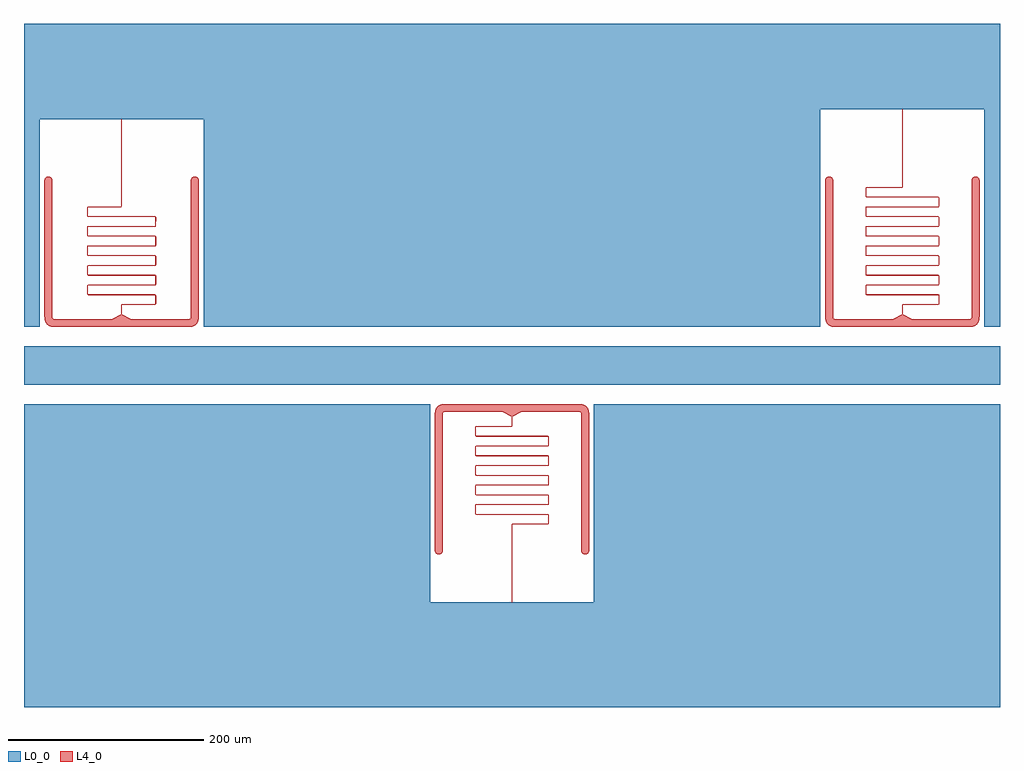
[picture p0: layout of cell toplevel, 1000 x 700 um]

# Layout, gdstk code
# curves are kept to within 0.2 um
import gdstk
lib = gdstk.Library(unit=1e-6, precision=1e-09)
def R(c, l, rs):  # rectangles x0, y0, x1, y1
    for r in rs: c.add(gdstk.rectangle(r[:2], r[2:], *l))
def P(c, l, *ps):  # polygons
    for p in ps: c.add(gdstk.Polygon(p, *l))
L0_0 = (0, 0)
L4_0 = (4, 0)

toplevel = lib.new_cell('toplevel')
R(toplevel, L0_0, [(-500,-19.5,500,19.5)])
P(toplevel, L0_0, [(316,262.5),(484,262.5),(484,39.5),(500,39.5),(500,350),(-500,350),(-500,39.5),(-484,39.5),(-484,252.5),(-316,252.5),(-316,39.5),(316,39.5)],
  [(-84,-242.5),(-84,-39.5),(-500,-39.5),(-500,-350),(500,-350),(500,-39.5),(84,-39.5),(84,-242.5)])
P(toplevel, L4_0, [(-399.699,61.539),(-399.465,62.115),(-365.506,62.257),(-364.947,62.612),(-364.71,63.28),(-364.7,71.378),(-364.981,72.43),(-365.381,72.703),(-433.96,72.8),(-434.676,73.217),(-434.577,82.023),(-365.997,82.2),(-365.142,82.424),(-364.736,83.097),(-364.712,91.738),(-365.002,92.453),(-365.674,92.777),(-433.96,92.8),(-434.674,93.205),(-434.577,102.023),(-365.997,102.2),(-365.155,102.415),(-364.743,103.065),(-364.712,111.732),(-364.997,112.448),(-365.674,112.777),(-433.955,112.8),(-434.669,113.183),(-434.577,122.023),(-366.003,122.2),(-365.173,122.403),(-364.752,123.026),(-364.712,131.732),(-364.997,132.448),(-365.674,132.777),(-433.955,132.8),(-434.662,133.157),(-434.577,142.023),(-366.003,142.2),(-365.192,142.39),(-364.766,142.973),(-364.711,151.726),(-364.997,152.448),(-365.674,152.777),(-433.95,152.8),(-434.654,153.129),(-434.698,161.563),(-434.35,162.16),(-400.957,162.201),(-400.205,162.383),(-399.785,162.914),(-399.7,252.5),(-400.3,252.5),(-400.352,163.112),(-401.015,162.8),(-434.527,162.734),(-435.071,162.364),(-435.292,161.684),(-435.226,152.947),(-434.795,152.383),(-433.992,152.2),(-365.769,152.185),(-365.303,151.595),(-365.342,143.143),(-366.045,142.8),(-434.326,142.777),(-435.003,142.448),(-435.288,141.732),(-435.241,133),(-434.82,132.398),(-433.997,132.2),(-365.769,132.185),(-365.303,131.595),(-365.334,123.171),(-366.045,122.8),(-434.326,122.777),(-435.003,122.448),(-435.288,121.732),(-435.253,113.045),(-434.833,112.407),(-433.997,112.2),(-365.765,112.184),(-365.303,111.595),(-365.329,103.194),(-366.04,102.8),(-434.326,102.777),(-434.998,102.453),(-435.288,101.738),(-435.261,93.084),(-434.852,92.42),(-434.003,92.2),(-365.765,92.184),(-365.304,91.6),(-365.325,83.213),(-366.04,82.8),(-434.326,82.777),(-434.998,82.453),(-435.288,81.738),(-435.265,73.104),(-434.876,72.437),(-434.054,72.201),(-366.01,72.2),(-365.432,72.034),(-365.3,71.378),(-365.399,63.011),(-399.75,62.643),(-400.295,61.642),(-400.3,52.5),(-410,47.5),(-468.12,47.501),(-470.603,47.908),(-471,50.606),(-471.004,189.674),(-471.452,191.347),(-472.429,192.564),(-473.797,193.315),(-475.349,193.485),(-476.847,193.048),(-477.949,192.202),(-478.695,191.031),(-478.996,189.674),(-479,50.582),(-478.446,45.984),(-477.684,44.163),(-476.633,42.651),(-475.213,41.365),(-473.449,40.389),(-469.341,39.533),(-331.461,39.506),(-327.212,40.141),(-325.442,40.941),(-323.946,42.051),(-322.68,43.558),(-321.758,45.382),(-321.212,47.453),(-321.006,49.961),(-321,189.5),(-321.375,191.19),(-322.429,192.564),(-323.965,193.364),(-325.522,193.466),(-326.847,193.048),(-327.949,192.202),(-328.695,191.031),(-328.996,189.674),(-329,50.573),(-329.338,47.996),(-330.14,47.626),(-331.88,47.501),(-390,47.5),(-399.7,52.5)],
  [(-0.396,-61.984),(-37.25,-62.357),(-37.799,-63.491),(-37.796,-71.618),(-37.394,-72.548),(-36.442,-72.8),(36.718,-72.814),(37.198,-73.428),(37.059,-82.044),(-36.813,-82.221),(-37.514,-82.564),(-37.793,-83.328),(-37.798,-91.577),(-37.503,-92.448),(-36.453,-92.8),(36.505,-92.801),(37.07,-92.968),(37.2,-93.622),(37.07,-102.032),(-36.492,-102.2),(-37.327,-102.403),(-37.748,-103.026),(-37.788,-111.738),(-37.492,-112.459),(-36.807,-112.78),(36.45,-112.8),(37.163,-113.16),(37.074,-122.027),(-36.492,-122.2),(-37.308,-122.39),(-37.736,-122.98),(-37.788,-131.732),(-37.498,-132.453),(-36.807,-132.78),(36.45,-132.8),(37.155,-133.132),(37.075,-142.025),(-36.486,-142.2),(-37.282,-142.375),(-37.717,-142.921),(-37.789,-151.726),(-37.498,-152.453),(-36.807,-152.78),(36.445,-152.8),(37.144,-153.098),(37.198,-161.563),(36.836,-162.164),(0.974,-162.201),(0.237,-162.364),(-0.19,-162.848),(-0.3,-242.5),(0.3,-242.5),(0.364,-163.079),(1.025,-162.8),(37,-162.741),(37.562,-162.376),(37.792,-161.684),(37.705,-152.888),(37.269,-152.368),(36.486,-152.2),(-36.723,-152.186),(-37.197,-151.595),(-37.15,-143.115),(-36.45,-142.8),(36.807,-142.78),(37.498,-142.453),(37.788,-141.732),(37.728,-132.954),(37.295,-132.383),(36.492,-132.2),(-36.723,-132.186),(-37.197,-131.595),(-37.159,-123.146),(-36.45,-122.8),(36.807,-122.78),(37.498,-122.453),(37.788,-121.732),(37.741,-113),(37.314,-112.394),(36.492,-112.2),(-36.723,-112.186),(-37.196,-111.6),(-37.166,-103.171),(-36.455,-102.8),(36.794,-102.781),(37.487,-102.465),(37.785,-101.763),(37.741,-93),(37.106,-92.292),(36.537,-92.201),(-36.425,-92.2),(-37.061,-92.042),(-37.199,-91.505),(-37.198,-83.428),(-36.718,-82.814),(37.066,-82.722),(37.492,-82.459),(37.798,-81.583),(37.793,-73.328),(37.514,-72.564),(36.813,-72.221),(-36.425,-72.2),(-37.025,-72.075),(-37.199,-71.524),(-37.109,-63.024),(-0.263,-62.65),(0.295,-61.647),(0.3,-52.5),(10,-47.5),(68.12,-47.501),(70.606,-47.911),(71,-50.606),(71.004,-189.674),(71.452,-191.347),(72.429,-192.564),(73.797,-193.315),(75.349,-193.485),(76.847,-193.048),(77.949,-192.202),(78.695,-191.031),(78.996,-189.674),(79,-50.582),(78.446,-45.984),(77.684,-44.163),(76.633,-42.651),(75.213,-41.365),(73.449,-40.389),(69.341,-39.533),(-68.539,-39.506),(-72.788,-40.141),(-74.558,-40.941),(-76.054,-42.051),(-77.32,-43.558),(-78.242,-45.382),(-78.788,-47.453),(-78.994,-49.961),(-79,-189.5),(-78.625,-191.19),(-77.571,-192.564),(-76.035,-193.364),(-74.478,-193.466),(-73.153,-193.048),(-72.051,-192.202),(-71.304,-191.031),(-71.004,-189.674),(-71,-50.606),(-70.662,-47.996),(-69.86,-47.626),(-68.12,-47.501),(-10,-47.5),(-0.3,-52.5)],
  [(400.301,61.539),(400.546,62.121),(436.974,62.252),(437.544,62.599),(437.789,63.274),(437.8,71.378),(437.519,72.43),(437.119,72.703),(363.545,72.8),(362.825,73.213),(362.926,82.028),(436.497,82.2),(437.358,82.424),(437.764,83.097),(437.788,91.738),(437.492,92.459),(436.807,92.78),(363.545,92.8),(362.827,93.201),(362.926,102.027),(436.497,102.2),(437.345,102.415),(437.757,103.065),(437.788,111.738),(437.492,112.459),(436.807,112.78),(363.545,112.8),(362.831,113.183),(362.926,122.027),(436.492,122.2),(437.327,122.403),(437.748,123.026),(437.788,131.738),(437.492,132.459),(436.807,132.78),(363.55,132.8),(362.837,133.16),(362.926,142.028),(436.492,142.2),(437.308,142.39),(437.736,142.98),(437.788,151.732),(437.498,152.453),(436.807,152.78),(363.55,152.8),(362.845,153.132),(362.925,162.025),(436.486,162.2),(437.282,162.375),(437.717,162.921),(437.789,171.726),(437.498,172.453),(436.807,172.78),(363.555,172.8),(362.856,173.098),(362.802,181.563),(363.164,182.164),(399.026,182.201),(399.763,182.364),(400.19,182.848),(400.3,262.5),(399.7,262.5),(399.636,183.079),(398.975,182.8),(363,182.741),(362.437,182.376),(362.207,181.684),(362.295,172.888),(362.731,172.368),(363.514,172.2),(436.723,172.186),(437.197,171.595),(437.149,163.115),(436.45,162.8),(363.193,162.78),(362.502,162.453),(362.212,161.732),(362.272,152.954),(362.705,152.383),(363.508,152.2),(436.723,152.186),(437.197,151.595),(437.159,143.146),(436.45,142.8),(363.193,142.78),(362.502,142.453),(362.212,141.732),(362.259,133),(362.686,132.394),(363.508,132.2),(436.723,132.186),(437.196,131.6),(437.166,123.171),(436.455,122.8),(363.193,122.78),(362.507,122.459),(362.212,121.738),(362.247,113.045),(362.667,112.407),(363.503,112.2),(436.723,112.186),(437.196,111.6),(437.171,103.194),(436.455,102.8),(363.193,102.78),(362.507,102.459),(362.212,101.738),(362.24,93.078),(362.655,92.415),(363.503,92.2),(436.723,92.186),(437.196,91.6),(437.175,83.213),(436.455,82.8),(363.193,82.78),(362.507,82.459),(362.212,81.738),(362.236,73.097),(362.63,72.433),(363.452,72.201),(436.485,72.2),(437.066,72.036),(437.2,71.378),(437.096,63.003),(400.276,62.657),(399.705,61.647),(399.7,52.5),(390,47.5),(331.88,47.501),(329.394,47.911),(329,50.573),(328.996,189.674),(328.548,191.347),(327.571,192.564),(326.203,193.315),(324.651,193.485),(323.153,193.048),(322.051,192.202),(321.304,191.031),(321.004,189.674),(321,50.545),(321.554,45.984),(322.316,44.163),(323.367,42.651),(324.787,41.365),(326.551,40.389),(330.659,39.533),(468.539,39.506),(472.788,40.141),(474.558,40.941),(476.054,42.051),(477.32,43.558),(478.242,45.382),(478.788,47.453),(478.994,49.961),(479,189.5),(478.625,191.19),(477.571,192.564),(476.035,193.364),(474.478,193.466),(473.153,193.048),(472.051,192.202),(471.304,191.031),(471.004,189.674),(471,50.606),(470.662,47.996),(469.86,47.626),(468.12,47.501),(410,47.5),(400.3,52.5)])

lib.write_gds('toplevel.gds')
